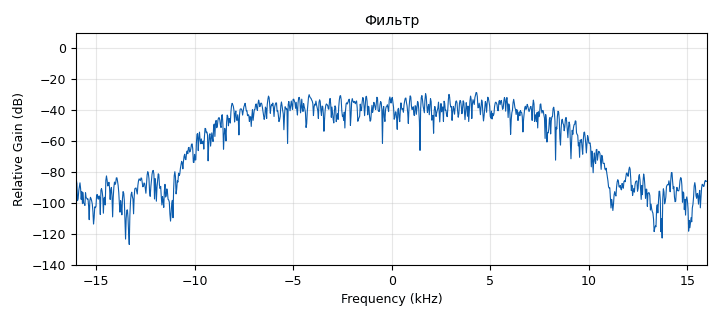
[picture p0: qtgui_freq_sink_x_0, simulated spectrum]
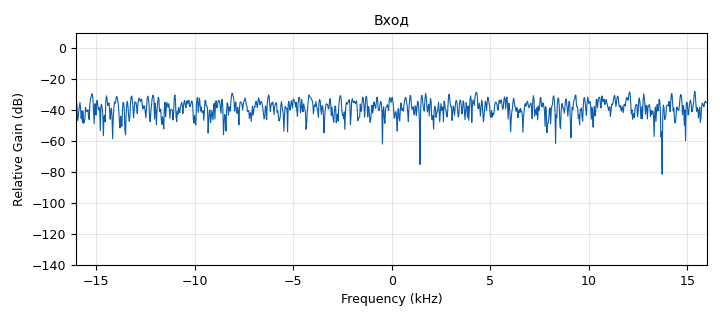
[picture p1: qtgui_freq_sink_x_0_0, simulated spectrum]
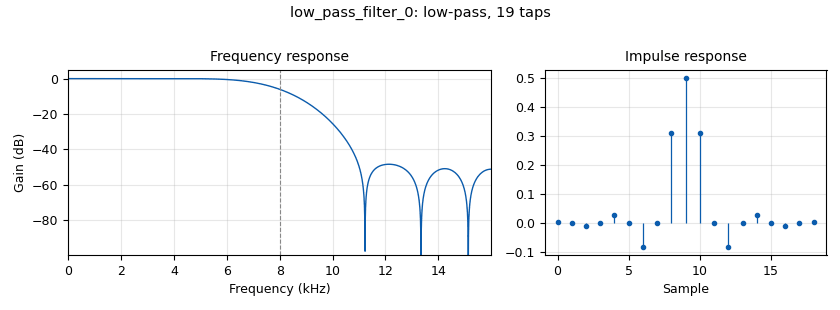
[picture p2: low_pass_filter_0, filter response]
options:
  parameters:
    generate_options: qt_gui
    id: sineWaveFlowgraph
    output_language: python
    title: sineWaveFlowgraph
  states: {}

blocks:
- name: samp_rate
  id: variable
  parameters:
    value: '32000'
  states: {}
- name: analog_noise_source_x_0
  id: analog_noise_source_x
  parameters:
    amp: '1'
    noise_type: analog.GR_GAUSSIAN
    seed: '0'
    type: complex
  states: {}
- name: blocks_throttle2_0
  id: blocks_throttle2
  parameters:
    samples_per_second: samp_rate
    type: complex
  states: {}
- name: blocks_throttle2_0_0
  id: blocks_throttle2
  parameters:
    samples_per_second: samp_rate
    type: complex
  states: {}
- name: low_pass_filter_0
  id: low_pass_filter
  parameters:
    cutoff_freq: samp_rate/4
    decim: '1'
    gain: '1'
    samp_rate: samp_rate
    type: fir_filter_ccf
    width: samp_rate/8
    win: window.WIN_HAMMING
  states: {}
- name: qtgui_freq_sink_x_0
  id: qtgui_freq_sink_x
  parameters:
    bw: samp_rate
    fc: '0'
    fftsize: '1024'
    name: '"Фильтр"'
    type: complex
  states: {}
- name: qtgui_freq_sink_x_0_0
  id: qtgui_freq_sink_x
  parameters:
    bw: samp_rate
    fc: '0'
    fftsize: '1024'
    name: '"Вход"'
    type: complex
  states: {}

connections:
- [analog_noise_source_x_0, '0', blocks_throttle2_0_0, '0']
- [analog_noise_source_x_0, '0', low_pass_filter_0, '0']
- [blocks_throttle2_0, '0', qtgui_freq_sink_x_0, '0']
- [blocks_throttle2_0_0, '0', qtgui_freq_sink_x_0_0, '0']
- [low_pass_filter_0, '0', blocks_throttle2_0, '0']

metadata:
  file_format: 1
  grc_version: 3.10.9.2
